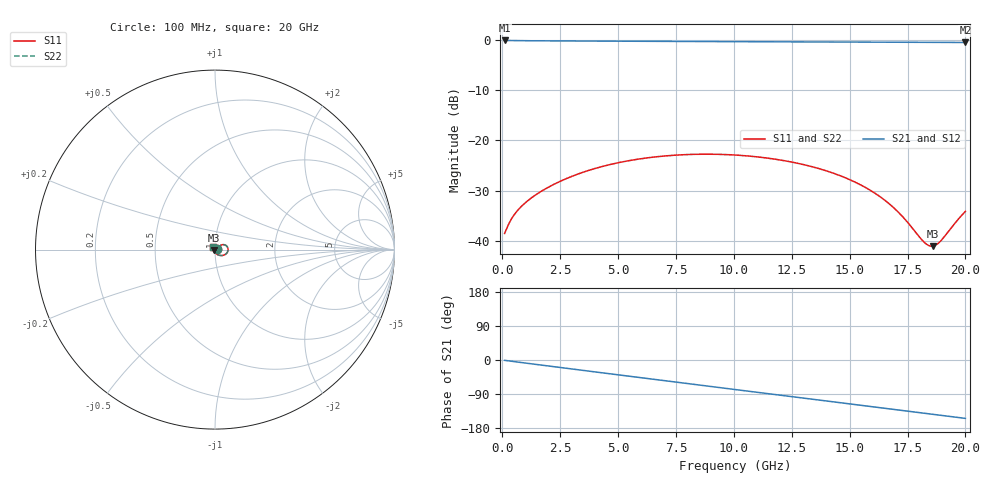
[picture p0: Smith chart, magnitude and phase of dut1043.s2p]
! Touchstone file exported from HFSS 2026.1.0
!  File:  C:/ffzhzh/LocalFiles/Ansys_Project_Files/temp_train_TSV_RDL_1043_1783295854_38820.aedt
!  Generated:  08:06:19 AM Jul  6, 2026
!  Design:  TSV_RDL
!  Project:  temp_train_TSV_RDL_1043_1783295854_38820
! Variables:
!  h_bsmrdl = 2.49um
!  h_ox = 20um
!  h_rdl = 5um
!  h_sub = 80.62um
!  h_tmrdl = 4.53um
!  h_tsv = 80.62um
!  h_via = 3um
!  l_bsmrdl = 418.27um
!  l_sub = 2458.28um
!  l_tmrdl = 167.17um
!  m_sub = 200um
!  pitch = 30.16um
!  r_tsv = 9.18um
!  s_tmrdl = 10um
!  w_bsmrdl = 25.14um
!  w_sub = 500um
!  w_tmrdl = 19.79um
!  x_tsv_center1 = 177.065um
!  x_tsv_center2 = 620.475um
!  x_tsv_center3 = 807.435um
!  x_tsv_center4 = 1250.845um
!  x_tsv_center5 = 1437.805um
!  x_tsv_center6 = 1881.215um
# GHz S MA R 50.000000
! Terminal data exported
! Port[1] = TM_RDL1_1_T1
! Port[2] = TM_RDL5_1_T1
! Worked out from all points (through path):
!   200 points, 100 MHz to 20 GHz, reference 50 ohm
!   highest |S21| = -0.10 dB at 100 MHz (marker M1); lowest = -0.5 dB at 20 GHz (marker M2)
!   group delay of S21, straight-line fit = 21.3 ps
!   lowest |S11| = -41.1 dB at 18.6 GHz (marker M3), VSWR 1.02, Z = 49.2 - j0.295 ohm
!   |S11| at or under -10 dB: start of sweep to end of sweep
!   |S22| runs from -41.0 to -22.8 dB; largest |S21 - S12| = 9.5e-14
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0.1  0.0118 13.1  0.9885 -0.9  0.9885 -0.9  0.0118 13.1
! Gamma 0 0 0 0
! Port Impedance 50 0 50 0
0.3  0.01503 26.0  0.9868 -2.6  0.9868 -2.6  0.01503 26.0
0.5  0.01796 30.7  0.9852 -4.2  0.9852 -4.2  0.01796 30.7
0.8  0.02169 34.3  0.9835 -6.5  0.9835 -6.5  0.02169 34.3
1.2  0.02611 36.7  0.9817 -9.6  0.9817 -9.6  0.02611 36.7
2.2  0.03617 38.0  0.9788 -17.4  0.9788 -17.4  0.03617 38.0
3.5  0.04821 34.3  0.9755 -27.5  0.9755 -27.5  0.04821 34.3
5.1  0.06044 25.8  0.9717 -39.9  0.9717 -39.9  0.06045 25.8
6.8  0.06911 14.8  0.9677 -53.0  0.9677 -53.0  0.06911 14.8
8.5  0.0727 2.7  0.9642 -66.0  0.9642 -66.0  0.07271 2.7
10.1  0.07128 -9.4  0.9612 -78.3  0.9612 -78.3  0.07129 -9.4
11.7  0.06532 -22.0  0.9585 -90.5  0.9585 -90.5  0.06534 -22.0
13.4  0.05444 -36.3  0.9558 -103.5  0.9558 -103.5  0.05447 -36.3
15.3  0.03774 -54.8  0.9528 -118.1  0.9528 -118.1  0.03777 -54.8
16  0.0307 -63.3  0.9516 -123.5  0.9516 -123.5  0.03074 -63.3
16.7  0.02343 -74.0  0.9504 -128.8  0.9504 -128.8  0.02347 -74.0
17.3  0.01726 -87.1  0.9493 -133.4  0.9493 -133.4  0.01731 -87.2
18.2  0.00976 -127.7  0.9476 -140.3  0.9476 -140.3  0.009815 -127.6
18.4  0.008989 -143.1  0.9472 -141.8  0.9472 -141.8  0.009041 -143.0
18.6  0.008824 -160.2  0.9468 -143.4  0.9468 -143.4  0.008869 -159.9
18.9  0.009763 175.8  0.9462 -145.7  0.9462 -145.7  0.009793 176.1
20  0.0196 129.8  0.9439 -154.1  0.9439 -154.1  0.01959 130.0
